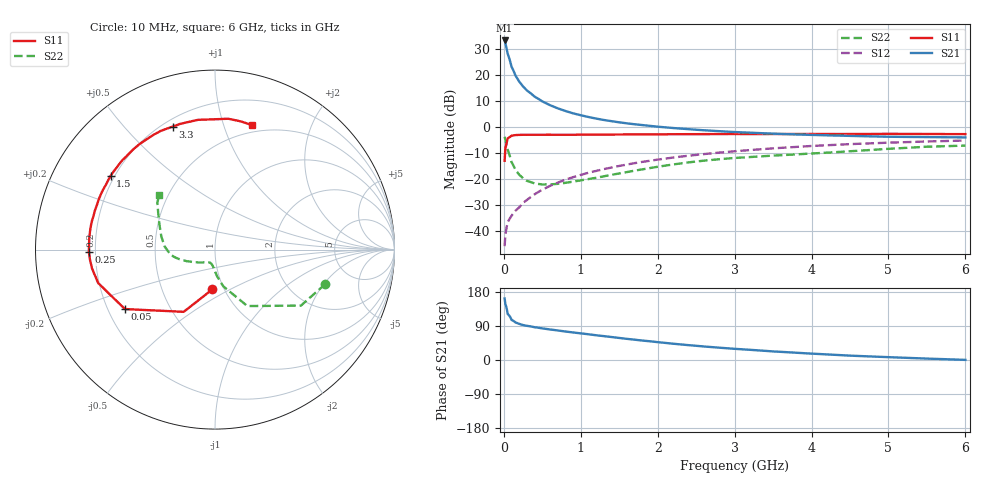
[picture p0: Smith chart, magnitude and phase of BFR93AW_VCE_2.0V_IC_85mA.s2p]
! (c) 2017  Infineon Technologies AG, Munich
! Infineon Technologies  Discrete & RF Semiconductors
! BFR93AW
! VCE =  2.0 V,  IC =  85 mA
! Common Emitter S-Parameters:  Jan 2017
# GHz  S  MA  R  50
!  f  S11  S21  S12  S22
! GHz  MAG  ANG  MAG  ANG  MAG  ANG  MAG  ANG
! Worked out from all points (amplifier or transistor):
!   77 points, 10 MHz to 6 GHz, reference 50 ohm
!   highest |S21| = 33.2 dB at 10 MHz (marker M1)
!   |S21| within 3 dB of that: start of sweep to 34.81 MHz
!   unconditionally stable (mu >= 1): start of sweep to 13.7 MHz; 115.2 MHz to end of sweep
!   at 130 MHz: K = 1.05, MAG = 25.8 dB, |S12| = -33.0 dB
!   at 2.2 GHz: K = 1.17, MAG = 3.2 dB, |S12| = -11.8 dB
!   at 6 GHz: K = 1.04, MAG = -0.6 dB, |S12| = -5.3 dB
!   S11 on the Smith chart (normalised r, x): 10 MHz: 0.88, -0.41; 50 MHz: 0.27, -0.28; 250 MHz: 0.17, -0.01; 1.5 GHz: 0.18, +0.31; 3.3 GHz: 0.24, +0.69; 6 GHz: 0.43, +1.25
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0.01  0.2226 -93.9  45.53 162.3  0.0051 59.6  0.6437 -17.4
0.02  0.3881 -116.7  40.65 147.6  0.0084 58.9  0.5715 -33.1
0.05  0.6013 -146.6  25.28 121.4  0.0147 46.6  0.3624 -60.2
0.1  0.6768 -164.0  14.24 105.8  0.0195 52.0  0.21 -77.2
0.15  0.6933 -171.3  9.742 99.3  0.0244 57.0  0.1496 -85.5
0.2  0.6991 -175.6  7.382 95.3  0.0284 61.6  0.1203 -90.2
0.25  0.7027 -178.9  5.958 92.2  0.0345 64.2  0.1027 -94.1
0.3  0.7024 178.5  4.989 90.2  0.0394 66.7  0.0916 -98.0
0.4  0.7037 174.5  3.8 86.5  0.0505 69.2  0.0818 -103.5
0.5  0.7039 170.8  3.077 83.4  0.0619 70.9  0.0781 -109.1
0.6  0.7045 167.6  2.605 80.6  0.0733 71.3  0.0784 -114.3
0.7  0.7025 165.0  2.266 78.0  0.0846 72.0  0.0802 -118.2
0.9  0.7033 159.2  1.814 72.7  0.1078 71.1  0.0886 -126.2
1.1  0.7065 154.2  1.543 67.9  0.1311 70.2  0.0993 -133.5
1.5  0.7119 144.8  1.219 58.2  0.1772 66.7  0.1273 -146.4
2.1  0.718 131.7  0.976 45.1  0.2454 59.9  0.1798 -160.0
2.6  0.7232 121.8  0.858 35.7  0.299 53.8  0.2236 -168.4
3.1  0.7256 112.6  0.782 28.2  0.3481 47.6  0.2572 -176.5
3.3  0.7248 109.0  0.76 25.5  0.3666 45.1  0.2682 180.0
4.1  0.7277 96.1  0.693 15.8  0.4354 35.2  0.3128 164.2
5.1  0.7314 83.1  0.642 6.7  0.5011 23.3  0.3847 145.6
6  0.7237 73.6  0.626 0.3  0.5451 13.5  0.4357 135.4
